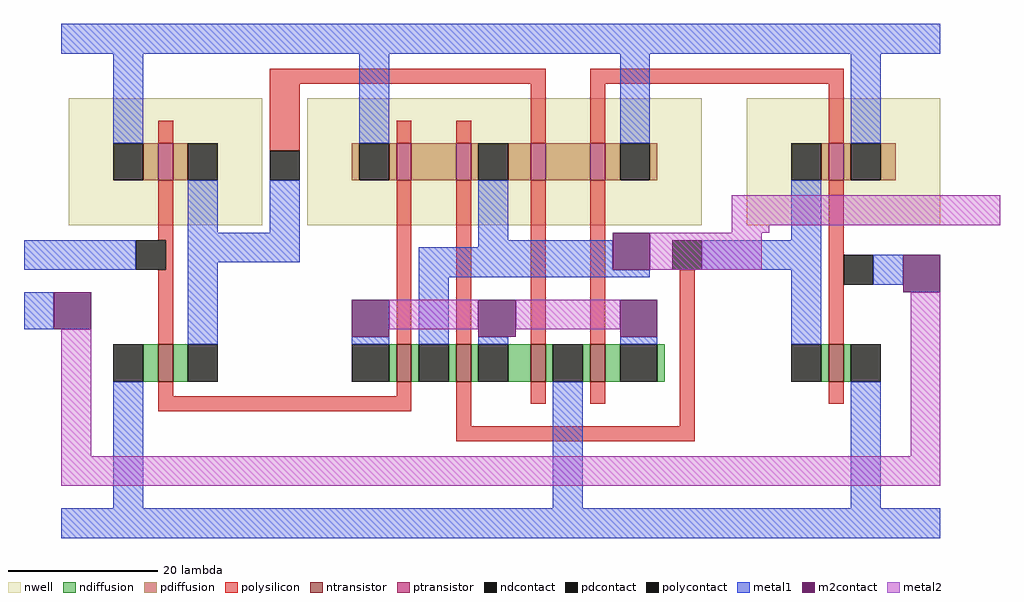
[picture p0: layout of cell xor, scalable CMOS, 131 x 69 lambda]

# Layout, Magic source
magic
tech scmos
<< nwell >>
rect -12 10 14 27
rect 20 10 73 27
rect 79 10 105 27
<< ntransistor >>
rect 0 -11 2 -6
rect 32 -11 34 -6
rect 40 -11 42 -6
rect 50 -11 52 -6
rect 58 -11 60 -6
rect 90 -11 92 -6
<< ptransistor >>
rect 0 16 2 21
rect 32 16 34 21
rect 40 16 42 21
rect 50 16 52 21
rect 58 16 60 21
rect 90 16 92 21
<< ndiffusion >>
rect -2 -11 0 -6
rect 2 -11 4 -6
rect 31 -11 32 -6
rect 34 -11 35 -6
rect 39 -11 40 -6
rect 42 -11 43 -6
rect 47 -11 50 -6
rect 52 -11 53 -6
rect 57 -11 58 -6
rect 60 -11 62 -6
rect 67 -11 68 -6
rect 89 -11 90 -6
rect 92 -11 93 -6
<< pdiffusion >>
rect -2 16 0 21
rect 2 16 4 21
rect 26 16 27 21
rect 31 16 32 21
rect 34 16 40 21
rect 42 16 43 21
rect 47 16 50 21
rect 52 16 58 21
rect 60 16 62 21
rect 66 16 67 21
rect 89 16 90 21
rect 92 16 93 21
rect 97 16 99 21
<< ndcontact >>
rect -6 -11 -2 -6
rect 4 -11 8 -6
rect 26 -11 31 -6
rect 35 -11 39 -6
rect 43 -11 47 -6
rect 53 -11 57 -6
rect 62 -11 67 -6
rect 85 -11 89 -6
rect 93 -11 97 -6
<< pdcontact >>
rect -6 16 -2 21
rect 4 16 8 21
rect 27 16 31 21
rect 43 16 47 21
rect 62 16 66 21
rect 85 16 89 21
rect 93 16 97 21
<< polysilicon >>
rect 15 29 52 31
rect 0 21 2 24
rect 15 20 19 29
rect 32 21 34 24
rect 40 21 42 24
rect 50 21 52 29
rect 58 29 92 31
rect 58 21 60 29
rect 90 21 92 29
rect 0 8 2 16
rect 1 4 2 8
rect 0 -6 2 4
rect 32 -6 34 16
rect 40 -6 42 16
rect 50 -6 52 16
rect 58 -6 60 16
rect 0 -13 2 -11
rect 32 -13 34 -11
rect 0 -15 34 -13
rect 40 -17 42 -11
rect 50 -14 52 -11
rect 58 -14 60 -11
rect 70 -17 72 4
rect 90 -6 92 16
rect 90 -14 92 -11
rect 40 -19 72 -17
<< polycontact >>
rect 15 16 19 20
rect -3 4 1 8
rect 69 4 73 8
rect 92 2 96 6
<< metal1 >>
rect -13 33 105 37
rect -6 21 -2 33
rect 27 21 31 33
rect 62 21 66 33
rect 93 21 97 33
rect 4 9 8 16
rect 15 9 19 16
rect -18 4 -3 8
rect 4 5 19 9
rect 43 8 47 16
rect 43 7 61 8
rect -18 -4 -14 1
rect 4 -6 8 5
rect 35 4 61 7
rect 85 8 89 16
rect 73 4 89 8
rect 35 3 66 4
rect 26 -6 31 -5
rect 35 -6 39 3
rect 43 -6 47 -5
rect 62 -6 67 -5
rect 85 -6 89 4
rect 96 2 100 6
rect -6 -28 -2 -11
rect 53 -28 57 -11
rect 93 -28 97 -11
rect -13 -32 105 -28
<< m2contact >>
rect -14 -4 -9 1
rect 61 4 66 9
rect 26 -5 31 0
rect 43 -5 48 0
rect 62 -5 67 0
rect 100 1 105 6
<< metal2 >>
rect 77 10 113 14
rect 77 9 82 10
rect 66 4 81 9
rect -13 -21 -9 -4
rect 31 -4 43 0
rect 48 -4 62 0
rect 101 -21 105 1
rect -13 -25 105 -21
<< end >>
